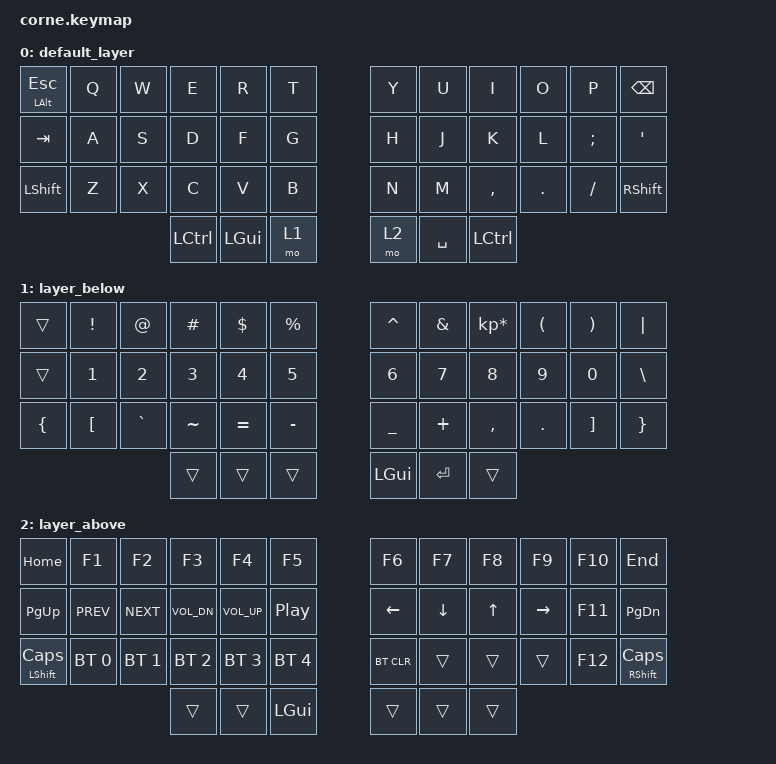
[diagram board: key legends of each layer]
/*
 * Copyright (c) 2020 The ZMK Contributors
 *
 * SPDX-License-Identifier: MIT
 */

#include <behaviors.dtsi>
#include <dt-bindings/zmk/keys.h>
#include <dt-bindings/zmk/bt.h>

/ {
    behaviors {
tp: tap_preferred {
        compatible = "zmk,behavior-hold-tap";
        label = "TAP_PREFERRED";
#binding-cells = <2>;
        tapping-term-ms = <150>;
        quick-tap-ms = <0>;
        flavor = "tap-preferred";
        bindings = <&kp>, <&kp>;
    };
    };

    keymap {
        compatible = "zmk,keymap";

        // default_layer
        //------------------------------------------------------------------------------------------------------------------------------------------------------------
        //     ALT, ESC       Q            W          E          R            T                Y           U          I          O          P          BSPC
        //     TAB            A            S          D          F            G                H           J          K          L          ;          '
        //     SHFT           Z            X          C          V            B                N           M          ,          .          /          SHFT
        //                                            LCTRL      LGUI         LWR              RSE         SPACE      LCTRL
        //------------------------------------------------------------------------------------------------------------------------------------------------------------
        // layer_below
        //------------------------------------------------------------------------------------------------------------------------------------------------------------
        //     ALT, ESC       !            @          #          $            %                ^           &          *          (          )           |
        //     TAB            1/!          2/@        3/#        4/$          5/%              6/^         7/&        8/*        9/(        0/)         \/|
        //     {              [            `          ~          =            -                _           +          ,          .          ]           }
        //                                            LCTRL      LGUI         LWR              GUI         RETURN     LCTRL
        //------------------------------------------------------------------------------------------------------------------------------------------------------------
        // layer_above
        //------------------------------------------------------------------------------------------------------------------------------------------------------------
        //     HOME           F1           F2         F3         F4           F5               F6          F7         F8         F9         F10         END
        //     PG_UP          Prev         Next       Vol-       Vol+         Play/Pause       LFT         DWN        UP         RGT        F11         PG_DN
        //     SHFT/CAPS      BT1          BT2        BT3        BT4          BT5              BTCLR       M          ,          .          F12         SHFT/CAPS
        //                                          LCTRL        LGUI         LGUI             RSE         SPACE      LCTRL
        //------------------------------------------------------------------------------------------------------------------------------------------------------------
        default_layer {
            bindings = <
                &mt LALT ESC   &kp Q        &kp W      &kp E      &kp R        &kp T            &kp Y       &kp U      &kp I      &kp O      &kp P      &kp BSPC
                &kp TAB        &kp A        &kp S      &kp D      &kp F        &kp G            &kp H       &kp J      &kp K      &kp L      &kp SEMI   &kp SQT
                &kp LSHFT      &kp Z        &kp X      &kp C      &kp V        &kp B            &kp N       &kp M      &kp COMMA  &kp DOT    &kp FSLH   &kp RSHFT
                                                       &kp LCTRL  &kp LGUI     &mo 1            &mo 2       &kp SPACE  &kp LCTRL
                >;
        };

        layer_below {
            bindings = <
                &trans         &kp EXCL     &kp AT     &kp HASH   &kp DLLR     &kp PRCNT        &kp CARET   &kp AMPS   &kp KP_MULTIPLY &kp LPAR &kp RPAR &kp PIPE
                &trans         &kp N1       &kp N2     &kp N3     &kp N4       &kp N5           &kp N6      &kp N7     &kp N8     &kp N9     &kp N0      &kp BSLH
                &kp LBRC       &kp LBKT     &kp GRAVE  &kp TILDE  &kp EQUAL    &kp MINUS        &kp UNDER   &kp PLUS   &kp COMMA  &kp DOT    &kp RBKT    &kp RBRC
                                                       &trans     &trans       &trans           &kp LGUI    &kp RET    &trans
                >;
        };

        layer_above {
            bindings = <
                &kp HOME        &kp F1       &kp F2       &kp F3       &kp F4       &kp F5           &kp F6      &kp F7     &kp F8     &kp F9     &kp F10     &kp END
                &kp PG_UP       &kp C_PREV   &kp C_NEXT   &kp C_VOL_DN &kp C_VOL_UP &kp C_PP         &kp LEFT    &kp DOWN   &kp UP     &kp RIGHT  &kp F11     &kp PG_DN
                &mt LSHFT CAPS  &bt BT_SEL 0 &bt BT_SEL 1 &bt BT_SEL 2 &bt BT_SEL 3 &bt BT_SEL 4     &bt BT_CLR  &trans     &trans     &trans     &kp F12     &mt RSHFT CAPS
                                                          &trans       &trans       &kp LGUI         &trans      &trans     &trans
                >;
        };
    };
};
